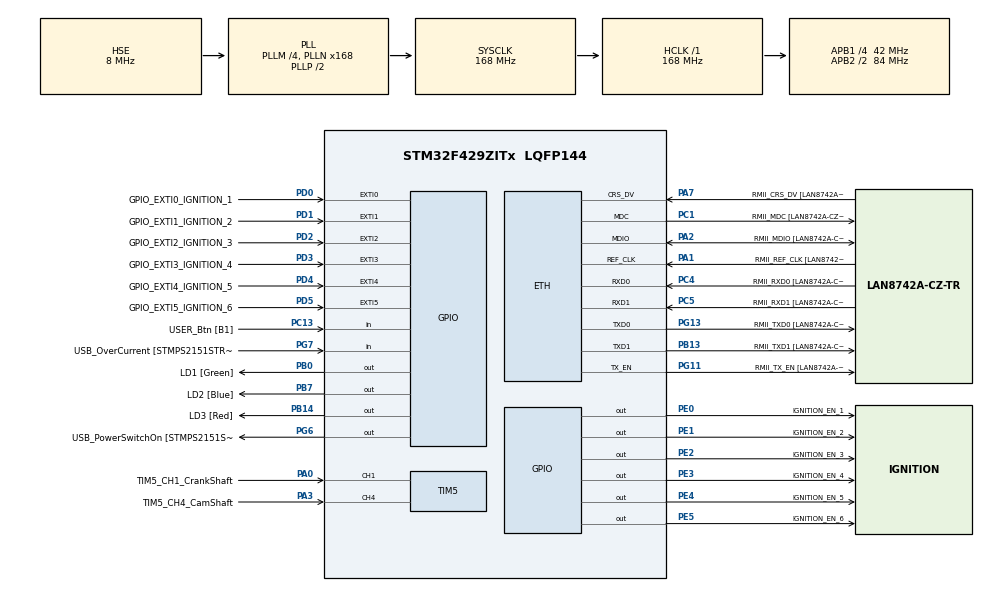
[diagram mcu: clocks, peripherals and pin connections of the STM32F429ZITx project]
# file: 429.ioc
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ETH.MediaInterface=ETH_MEDIA_INTERFACE_RMII
ETH.PHY_Name=LAN8742A_PHY_ADDRESS
ETH.PHY_Value=0
ETH.PhyAddress=0
LWIP.GATEWAY_ADDRESS=192.168.004.001
LWIP.IP_ADDRESS=192.168.004.251
LWIP.LWIP_DHCP=0
LWIP.MEMP_NUM_NETBUF=8
LWIP.MEMP_NUM_NETCONN=8
LWIP.MEMP_NUM_SYS_TIMEOUT=8
LWIP.MEMP_NUM_TCP_PCB=8
LWIP.MEM_SIZE=6000
LWIP.NETMASK_ADDRESS=255.255.255.000
LWIP.PBUF_POOL_BUFSIZE=720
LWIP.TCP_SND_BUF=1800
LWIP.Version=v2.1.2_Cube
Mcu.Family=STM32F4
Mcu.Name=STM32F429ZITx
Mcu.Package=LQFP144
NVIC.EXTI0_IRQn=true\:0\:0\:false\:false\:true\:true\:true
NVIC.EXTI1_IRQn=true\:0\:0\:false\:false\:true\:true\:true
NVIC.EXTI2_IRQn=true\:0\:0\:false\:false\:true\:true\:true
NVIC.EXTI3_IRQn=true\:0\:0\:false\:false\:true\:true\:true
NVIC.EXTI4_IRQn=true\:0\:0\:false\:false\:true\:true\:true
NVIC.EXTI9_5_IRQn=true\:0\:0\:false\:false\:true\:true\:true
NVIC.PriorityGroup=NVIC_PRIORITYGROUP_4
NVIC.TIM1_UP_TIM10_IRQn=true\:0\:0\:false\:false\:true\:false\:true
NVIC.TIM5_IRQn=true\:0\:0\:false\:false\:true\:true\:true
NVIC.TimeBase=TIM1_UP_TIM10_IRQn
NVIC.TimeBaseIP=TIM10
PA0/WKUP.GPIO_Label=TIM5_CH1_CrankShaft 
PA0/WKUP.GPIO_PuPd=GPIO_PULLDOWN
PA0/WKUP.GPIO_Speed=GPIO_SPEED_FREQ_VERY_HIGH
PA0/WKUP.Signal=S_TIM5_CH1
PA1.GPIO_Label=RMII_REF_CLK [LAN8742A-CZ-TR_REFCLK0]
PA1.Mode=RMII
PA1.Signal=ETH_REF_CLK
PA10.GPIO_Label=USB_ID
PA10.Signal=USB_OTG_FS_ID
PA11.GPIO_Label=USB_DM
PA11.Signal=USB_OTG_FS_DM
PA12.GPIO_Label=USB_DP
PA12.Signal=USB_OTG_FS_DP
PA13.GPIO_Label=TMS
PA13.Mode=Trace_Asynchronous_SW
PA13.Signal=SYS_JTMS-SWDIO
PA14.GPIO_Label=TCK
PA14.Mode=Trace_Asynchronous_SW
PA14.Signal=SYS_JTCK-SWCLK
PA2.GPIO_Label=RMII_MDIO [LAN8742A-CZ-TR_MDIO]
PA2.Mode=RMII
PA2.Signal=ETH_MDIO
PA3.GPIO_Label=TIM5_CH4_CamShaft 
PA3.GPIO_PuPd=GPIO_PULLDOWN
PA3.GPIO_Speed=GPIO_SPEED_FREQ_VERY_HIGH
PA3.Signal=S_TIM5_CH4
PA7.GPIO_Label=RMII_CRS_DV [LAN8742A-CZ-TR_CRS_DV]
PA7.Mode=RMII
PA7.Signal=ETH_CRS_DV
PA8.GPIO_Label=USB_SOF [TP1]
PA8.Signal=USB_OTG_FS_SOF
PA9.GPIO_Label=USB_VBUS
PA9.Signal=USB_OTG_FS_VBUS
PB0.GPIO_Label=LD1 [Green]
PB0.Signal=GPIO_Output
PB13.GPIO_Label=RMII_TXD1 [LAN8742A-CZ-TR_TXD1]
PB13.Mode=RMII
PB13.Signal=ETH_TXD1
PB14.GPIO_Label=LD3 [Red]
PB14.Signal=GPIO_Output
PB3.Mode=Trace_Asynchronous_SW
PB3.Signal=SYS_JTDO-SWO
PB7.GPIO_Label=LD2 [Blue]
PB7.Signal=GPIO_Output
PC1.GPIO_Label=RMII_MDC [LAN8742A-CZ-TR_MDC]
PC1.Mode=RMII
PC1.Signal=ETH_MDC
PC13.GPIO_Label=USER_Btn [B1]
PC13.Signal=GPIO_Input
PC14/OSC32_IN.Mode=LSE-External-Oscillator
PC14/OSC32_IN.Signal=RCC_OSC32_IN
PC15/OSC32_OUT.Mode=LSE-External-Oscillator
PC15/OSC32_OUT.Signal=RCC_OSC32_OUT
PC4.GPIO_Label=RMII_RXD0 [LAN8742A-CZ-TR_RXD0]
PC4.Mode=RMII
PC4.Signal=ETH_RXD0
PC5.GPIO_Label=RMII_RXD1 [LAN8742A-CZ-TR_RXD1]
PC5.Mode=RMII
PC5.Signal=ETH_RXD1
PD0.GPIO_Label=GPIO_EXTI0_IGNITION_1
PD0.GPIO_ModeDefaultEXTI=GPIO_MODE_IT_FALLING
PD0.GPIO_PuPd=GPIO_PULLUP
PD0.Signal=GPXTI0
PD1.GPIO_Label=GPIO_EXTI1_IGNITION_2
PD1.GPIO_ModeDefaultEXTI=GPIO_MODE_IT_FALLING
PD1.GPIO_PuPd=GPIO_PULLUP
PD1.Signal=GPXTI1
PD2.GPIO_Label=GPIO_EXTI2_IGNITION_3
PD2.GPIO_ModeDefaultEXTI=GPIO_MODE_IT_FALLING
PD2.GPIO_PuPd=GPIO_PULLUP
PD2.Signal=GPXTI2
PD3.GPIO_Label=GPIO_EXTI3_IGNITION_4
PD3.GPIO_ModeDefaultEXTI=GPIO_MODE_IT_FALLING
PD3.GPIO_PuPd=GPIO_PULLUP
PD3.Signal=GPXTI3
PD4.GPIO_Label=GPIO_EXTI4_IGNITION_5
PD4.GPIO_ModeDefaultEXTI=GPIO_MODE_IT_FALLING
PD4.GPIO_PuPd=GPIO_PULLUP
PD4.Signal=GPXTI4
PD5.GPIO_Label=GPIO_EXTI5_IGNITION_6
PD5.GPIO_ModeDefaultEXTI=GPIO_MODE_IT_FALLING
PD5.GPIO_PuPd=GPIO_PULLUP
PD5.Signal=GPXTI5
PE0.GPIO_Label=IGNITION_EN_1
PE0.GPIO_ModeDefaultOutputPP=GPIO_MODE_OUTPUT_OD
PE0.GPIO_PuPd=GPIO_NOPULL
PE0.GPIO_Speed=GPIO_SPEED_FREQ_HIGH
PE0.PinState=GPIO_PIN_SET
PE0.Signal=GPIO_Output
PE1.GPIO_Label=IGNITION_EN_2
PE1.GPIO_ModeDefaultOutputPP=GPIO_MODE_OUTPUT_OD
PE1.GPIO_PuPd=GPIO_NOPULL
PE1.GPIO_Speed=GPIO_SPEED_FREQ_HIGH
PE1.PinState=GPIO_PIN_SET
PE1.Signal=GPIO_Output
PE2.GPIO_Label=IGNITION_EN_3
PE2.GPIO_ModeDefaultOutputPP=GPIO_MODE_OUTPUT_OD
PE2.GPIO_PuPd=GPIO_NOPULL
PE2.GPIO_Speed=GPIO_SPEED_FREQ_HIGH
PE2.PinState=GPIO_PIN_SET
PE2.Signal=GPIO_Output
PE3.GPIO_Label=IGNITION_EN_4
PE3.GPIO_ModeDefaultOutputPP=GPIO_MODE_OUTPUT_OD
PE3.GPIO_PuPd=GPIO_NOPULL
PE3.GPIO_Speed=GPIO_SPEED_FREQ_HIGH
PE3.PinState=GPIO_PIN_SET
PE3.Signal=GPIO_Output
PE4.GPIO_Label=IGNITION_EN_5
PE4.GPIO_ModeDefaultOutputPP=GPIO_MODE_OUTPUT_OD
PE4.GPIO_PuPd=GPIO_NOPULL
PE4.GPIO_Speed=GPIO_SPEED_FREQ_HIGH
PE4.PinState=GPIO_PIN_SET
PE4.Signal=GPIO_Output
PE5.GPIO_Label=IGNITION_EN_6
PE5.GPIO_ModeDefaultOutputPP=GPIO_MODE_OUTPUT_OD
PE5.GPIO_PuPd=GPIO_NOPULL
PE5.GPIO_Speed=GPIO_SPEED_FREQ_HIGH
PE5.PinState=GPIO_PIN_SET
PE5.Signal=GPIO_Output
PG11.GPIO_Label=RMII_TX_EN [LAN8742A-CZ-TR_TXEN]
PG11.Mode=RMII
PG11.Signal=ETH_TX_EN
PG13.GPIO_Label=RMII_TXD0 [LAN8742A-CZ-TR_TXD0]
PG13.Mode=RMII
PG13.Signal=ETH_TXD0
PG6.GPIO_Label=USB_PowerSwitchOn [STMPS2151STR_EN]
PG6.Signal=GPIO_Output
PG7.GPIO_Label=USB_OverCurrent [STMPS2151STR_FAULT]
PG7.Signal=GPIO_Input
PH0/OSC_IN.GPIO_Label=MCO [STM32F103CBT6_PA8]
PH0/OSC_IN.Mode=HSE-External-Clock-Source
PH0/OSC_IN.Signal=RCC_OSC_IN
PH1/OSC_OUT.Mode=HSE-External-Clock-Source
PH1/OSC_OUT.Signal=RCC_OSC_OUT
ProjectManager.HeapSize=0x2000
ProjectManager.StackSize=0x2000
ProjectManager.TargetToolchain=MDK-ARM V5.27
RCC.48MHZClocksFreq_Value=48000000
RCC.AHBFreq_Value=168000000
RCC.APB1CLKDivider=RCC_HCLK_DIV4
RCC.APB1Freq_Value=42000000
RCC.APB1TimFreq_Value=84000000
RCC.APB2CLKDivider=RCC_HCLK_DIV2
RCC.APB2Freq_Value=84000000
RCC.APB2TimCLKDivider=2
RCC.APB2TimFreq_Value=168000000
RCC.CortexFreq_Value=168000000
RCC.HCLKFreq_Value=168000000
RCC.HSE_VALUE=8000000
RCC.HSI_VALUE=16000000
RCC.PLLM=4
RCC.PLLMUL=RCC_PLL_MUL9
RCC.PLLN=168
RCC.PLLQ=7
RCC.PLLSourceVirtual=RCC_PLLSOURCE_HSE
RCC.PRESCALERUSB=RCC_USBCLKSOURCE_PLL_DIV1_5
RCC.SYSCLKFreq_VALUE=168000000
RCC.SYSCLKSource=RCC_SYSCLKSOURCE_PLLCLK
RCC.SYSCLKSourceVirtual=RCC_SYSCLKSOURCE_PLLCLK
RCC.USBFreq_Value=48000000
RCC.VCOOutputFreq_Value=336000000
SH.S_TIM5_CH1.0=TIM5_CH1,Input_Capture1_from_TI1
SH.S_TIM5_CH4.0=TIM5_CH4,Input_Capture4_from_TI4
TIM5.Channel-Input_Capture1_from_TI1=TIM_CHANNEL_1
TIM5.Channel-Input_Capture4_from_TI4=TIM_CHANNEL_4
TIM5.ICFilter_CH1=4
TIM5.ICFilter_CH4=4
TIM5.ICPolarity_CH1=TIM_INPUTCHANNELPOLARITY_FALLING
TIM5.ICPolarity_CH4=TIM_INPUTCHANNELPOLARITY_RISING
VP_LWIP_VS_Enabled.Mode=Enabled
VP_SYS_VS_tim10.Mode=TIM10
VP_TIM5_VS_ClockSourceINT.Mode=Internal
board=NUCLEO-F429ZI

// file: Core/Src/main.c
/* USER CODE BEGIN Header */
/**
  ******************************************************************************
  * @file           : main.c
  * @brief          : Main program body
  ******************************************************************************
  * @attention
  *
  * <h2><center>&copy; Copyright (c) 2022 STMicroelectronics.
  * All rights reserved.</center></h2>
  *
  * This software component is licensed by ST under Ultimate Liberty license
  * SLA0044, the "License"; You may not use this file except in compliance with
  * the License. You may obtain a copy of the License at:
  *                             www.st.com/SLA0044
  *
  ******************************************************************************
  */
/* USER CODE END Header */
#include "main.h"
#include "lwip.h"

/* USER CODE BEGIN Includes */
#include "TimeSpan.h"
#include "Memory.h"
#include "CoreDebug.h"
#include "HTTPServer.h"
#include "ModbusCommon.h"
#include "ModbusTCPServer.h"
#include "DeviceData.h"
#include "string.h"
/* USER CODE END Includes */

TIM_HandleTypeDef htim5;

/* USER CODE BEGIN PV */
/*#if   (defined ( __CC_ARM ))
__IO CommonData commonData  __attribute__((at(0x20000000)));
#elif (defined (__ICCARM__))
#pragma location = 0x20000000
__no_init __IO CommonData commonDta;
#elif defined   (  __GNUC__  )
__IO CommonData commonDta __attribute__((section(".RAMVectorTable")));
#endif*/

//---DEBUG---//
#include <stdio.h>
#define ITM_Port8(n)    (*((volatile unsigned char *)(0xE0000000+4*n)))
#define ITM_Port16(n)   (*((volatile unsigned short*)(0xE0000000+4*n)))
#define ITM_Port32(n)   (*((volatile unsigned long *)(0xE0000000+4*n)))
#define DEMCR           (*((volatile unsigned long *)(0xE000EDFC)))
#define TRCENA          0x01000000

struct __FILE { int handle; /* Add whatever you need here */ };
FILE __stdout;
FILE __stdin;

int fputc(int ch, FILE *f) {
   if (DEMCR & TRCENA) {

while (ITM_Port32(0) == 0)
	;
    ITM_Port8(0) = ch;
  }
  return(ch);
}
//---End Debug---//

Memory* memory = (void*)FIRST_PAGE_PROPERTY_ADDR;

HTTPServer httpServer;
ModbusTCPServer modbusTCPServer;

DeviceData deviceData;
float crankshaftTimeSpans1[CRANKSHAFT_POS_NUM];
float crankshaftTimeSpans2[CRANKSHAFT_POS_NUM];

const char infoStringFirstPart[]="Engine Control Device ID_";
char infoString[sizeof(infoStringFirstPart)+24];
InfoRegisters infoRegisters={(uint8_t*)infoString,sizeof(infoString)+24};

InputRegisters inputRegisters={
  .registers = (uint16_t*)&deviceData,
  .count = sizeof(DeviceData)/2,
};

HoldingRegisters holdingRegisters={
  .registers = (uint16_t*)FIRST_PAGE_PROPERTY_ADDR,
  .count = sizeof(Memory)/2,
};

ContactRegisters contactRegisters = {
  .bytes = NULL,
  .count = 0,
};

CoilRegisters coilRegisters = {
  .bytes = &deviceData.clearCounters,
  .count = 2,
};

/*float speedRPM = 1500.0F;
float speedRPS = 1500.0F/60.0F;
float crankshaftAllMarkCount = 60.0F;
float timerClock = 84000000.0F;*/
uint32_t oneMarkRefTick = (uint32_t)(84000000.0F/((1500.0F/60.0F)*60.0F));/*время одной метки в тиках*/

uint32_t camshaftOneTurnTickRef = (uint32_t)(84000000.0F/(750.0F/60.0F));/*время одного оборота в тиках*/

uint32_t lastFireErrorCylinderTicks[6]={0,0,0,0,0,0};
uint32_t lastMisfireCylinderTicks[6]={0,0,0,0,0,0};
//---DEL---//
/*uint8_t cylinder_1_crankshaft_pos =0;
uint8_t cylinder_2_crankshaft_pos =0;
uint8_t cylinder_3_crankshaft_pos =0;
uint8_t cylinder_4_crankshaft_pos =0;
uint8_t cylinder_5_crankshaft_pos =0;
uint8_t cylinder_6_crankshaft_pos =0;*/
//----------//
/* USER CODE END PV */

void SystemClock_Config(void);
static void MX_GPIO_Init(void);
static void MX_TIM5_Init(void);

/* USER CODE BEGIN 0 */
void modbusRequestProcessedCallback(uint8_t modbusRequestType,uint16_t regAddress,uint16_t regCount)
{
	if(modbusRequestType==WRITE_COIL_REGISTER && regAddress==0)
	{
		deviceData.misfireCounter=0;

	}
	else if(modbusRequestType==WRITE_COIL_REGISTER && regAddress==1)deviceData.fireErrorCounter=0;
	else if(modbusRequestType==WRITE_COIL_REGISTERS)
	{
		if(regAddress==0)deviceData.misfireCounter=0;
		if(regAddress+regCount>1)deviceData.fireErrorCounter=0;
	}
}

void dataChangedCallback()
{
	if(deviceData.crankshaftFiringAllowed&0x01)HAL_GPIO_WritePin(IGNITION_EN_1_GPIO_Port,IGNITION_EN_1_Pin,GPIO_PIN_SET);
	else HAL_GPIO_WritePin(IGNITION_EN_1_GPIO_Port,IGNITION_EN_1_Pin,GPIO_PIN_RESET);

	if(deviceData.crankshaftFiringAllowed&0x02)HAL_GPIO_WritePin(IGNITION_EN_2_GPIO_Port,IGNITION_EN_2_Pin,GPIO_PIN_SET);
	else HAL_GPIO_WritePin(IGNITION_EN_2_GPIO_Port,IGNITION_EN_2_Pin,GPIO_PIN_RESET);

	if(deviceData.crankshaftFiringAllowed&0x04)HAL_GPIO_WritePin(IGNITION_EN_3_GPIO_Port,IGNITION_EN_3_Pin,GPIO_PIN_SET);
	else HAL_GPIO_WritePin(IGNITION_EN_3_GPIO_Port,IGNITION_EN_3_Pin,GPIO_PIN_RESET);

	if(deviceData.crankshaftFiringAllowed&0x08)HAL_GPIO_WritePin(IGNITION_EN_4_GPIO_Port,IGNITION_EN_4_Pin,GPIO_PIN_SET);
	else HAL_GPIO_WritePin(IGNITION_EN_4_GPIO_Port,IGNITION_EN_4_Pin,GPIO_PIN_RESET);

	if(deviceData.crankshaftFiringAllowed&0x10)HAL_GPIO_WritePin(IGNITION_EN_5_GPIO_Port,IGNITION_EN_5_Pin,GPIO_PIN_SET);
	else HAL_GPIO_WritePin(IGNITION_EN_5_GPIO_Port,IGNITION_EN_5_Pin,GPIO_PIN_RESET);

	if(deviceData.crankshaftFiringAllowed&0x20)HAL_GPIO_WritePin(IGNITION_EN_6_GPIO_Port,IGNITION_EN_6_Pin,GPIO_PIN_SET);
	else HAL_GPIO_WritePin(IGNITION_EN_6_GPIO_Port,IGNITION_EN_6_Pin,GPIO_PIN_RESET);
}
/* USER CODE END 0 */

int main(void)
{

  /* MCU Configuration--------------------------------------------------------*/

  /* Reset of all peripherals, Initializes the Flash interface and the Systick. */
  HAL_Init();

  /* USER CODE BEGIN Init */
  __disable_irq();
  SCB->VTOR = MAIN_APP_START_ADDR;
	__enable_irq();
  /* USER CODE END Init */

  /* Configure the system clock */
  SystemClock_Config();

  /* USER CODE BEGIN SysInit */
  uint32_t* id = (uint32_t*)UID_BASE;
  infoRegisters.len = sprintf((char*)infoRegisters.data,"%s%.8X%.8X%.8X",infoStringFirstPart,id[0],id[1],id[2]);

	#ifdef OLD_CODE
  /* USER CODE END SysInit */

  /* Initialize all configured peripherals */
  MX_GPIO_Init();
  MX_LWIP_Init();
  MX_TIM5_Init();
  /* USER CODE BEGIN 2 */
	#endif
	Memory_Init();

	MX_GPIO_Init();
  MX_LWIP_Init();
  MX_TIM5_Init();

	printf("Main App started.\r\n");

	ModbusTCPServer_Init(&modbusTCPServer);
	HTTPServer_Init(&httpServer);

	deviceData.isDataProcessAllowed=0;
	deviceData.isCylinderFiredMask=0x00;//deviceData.currentCylinderBitMaskCrankshaft=0x00;//битовая маска каленвала(в зоне какого цилиндра находится), здесь можно определить только группу цилиндров (1,6 или 2,5 или 3,4), какой именно сработал - нужно смотреть по маске распредвала
  //deviceData.currentCylinderBitMaskCAMshaft=0x00;  //битовая маска распредвала(в зоне какого цилиндра находится)
	deviceData.crankshaftFiringAllowed=0x3F;         //битовая маска каленвала разрешение на поджигание смеси в цилиндрах ( по умолчанию разрешено - запуск двигателя)
	//deviceData.camshaftFiringAllowed=0x3F;           //битовая маска распредвала разрешение на поджигание смеси в цилиндрах( по умолчанию разрешено - запуск двигателя)
	deviceData.currentCylinder=0;
	//deviceData.currentCylinderForAccelerationCalc=0;

	//Запуск таймера в режиме захвата
	//HAL_TIM_IC_Start_IT(&htim5, TIM_CHANNEL_1);
	//__HAL_TIM_ENABLE_IT(&htim5, TIM_CHANNEL_4);//Чтобы срабатывали прерывания от двух каналов
	/*HAL_TIM_IC_Start(&htim5, TIM_CHANNEL_1);
	__HAL_TIM_ENABLE_IT(&htim5, TIM_IT_CC1);
	__HAL_TIM_ENABLE_IT(&htim5, TIM_IT_CC4);*/
	HAL_TIM_IC_Start_IT(&htim5, TIM_CHANNEL_1);
	HAL_TIM_IC_Start_IT(&htim5, TIM_CHANNEL_4);

  /* USER CODE END 2 */

  /* Infinite loop */
  /* USER CODE BEGIN WHILE */
  while (1)
  {
		static uint32_t lastBlinkTime =0;
		if(GetTimeSpan(lastBlinkTime,HAL_GetTick())>500)
		{
			lastBlinkTime=HAL_GetTick();
		  HAL_GPIO_TogglePin(LD1_GPIO_Port,LD1_Pin);//GREEN
		  //HAL_GPIO_TogglePin(LD2_GPIO_Port,LD2_Pin);//BLUE
		  //HAL_GPIO_TogglePin(LD3_GPIO_Port,LD3_Pin);//RED
		}

		MX_LWIP_Process();

		static uint32_t buttonResetIPReleaseTime = 0;

		if(HAL_GPIO_ReadPin(USER_Btn_GPIO_Port,USER_Btn_Pin)==GPIO_PIN_RESET)buttonResetIPReleaseTime = HAL_GetTick();
		else if(GetTimeSpan(buttonResetIPReleaseTime,HAL_GetTick())>5000)
		{
			HAL_GPIO_WritePin(LD1_GPIO_Port,LD1_Pin,GPIO_PIN_RESET);//GREEN
		  HAL_GPIO_WritePin(LD2_GPIO_Port,LD2_Pin,GPIO_PIN_RESET);//BLUE
		  HAL_GPIO_WritePin(LD3_GPIO_Port,LD3_Pin,GPIO_PIN_RESET);//RED
			HAL_Delay(500);
			HAL_GPIO_WritePin(LD1_GPIO_Port,LD1_Pin,GPIO_PIN_SET);//GREEN
			HAL_Delay(500);
			HAL_GPIO_WritePin(LD2_GPIO_Port,LD2_Pin,GPIO_PIN_SET);//BLUE
			HAL_Delay(500);
			HAL_GPIO_WritePin(LD3_GPIO_Port,LD3_Pin,GPIO_PIN_SET);//RED
			HAL_Delay(500);
			HAL_GPIO_WritePin(LD1_GPIO_Port,LD1_Pin,GPIO_PIN_RESET);//GREEN
		  HAL_GPIO_WritePin(LD2_GPIO_Port,LD2_Pin,GPIO_PIN_RESET);//BLUE
		  HAL_GPIO_WritePin(LD3_GPIO_Port,LD3_Pin,GPIO_PIN_RESET);//RED

			NetworkParameters networkParameters ={
			  .ipAddr={192,168,1,251},
			  .netMask={255,255,255,0},
	      .gateWay={192,168,1,001},
			  .modbusPort=502,
		  };
			memoryWriteNetworkParameters(&networkParameters);

			HAL_Delay(500);

			buttonResetIPReleaseTime = HAL_GetTick();
	  }

		for(int i =0; i<6;i++)
		{
			if(deviceData.fireErrorCylinder[i] && GetTimeSpan(lastFireErrorCylinderTicks[i],HAL_GetTick())>4000)deviceData.fireErrorCylinder[i]=0x00;
			if(deviceData.misfireCylinder[i] && GetTimeSpan(lastMisfireCylinderTicks[i],HAL_GetTick())>4000)deviceData.misfireCylinder[i]=0;
		}

    /* USER CODE END WHILE */

  }
}

void SystemClock_Config(void)
{
  RCC_OscInitTypeDef RCC_OscInitStruct = {0};
  RCC_ClkInitTypeDef RCC_ClkInitStruct = {0};

  /** Configure the main internal regulator output voltage
  */
  __HAL_RCC_PWR_CLK_ENABLE();
  __HAL_PWR_VOLTAGESCALING_CONFIG(PWR_REGULATOR_VOLTAGE_SCALE1);
  /** Initializes the RCC Oscillators according to the specified parameters
  * in the RCC_OscInitTypeDef structure.
  */
  RCC_OscInitStruct.OscillatorType = RCC_OSCILLATORTYPE_LSI|RCC_OSCILLATORTYPE_HSE;
  RCC_OscInitStruct.HSEState = RCC_HSE_BYPASS;
  RCC_OscInitStruct.LSIState = RCC_LSI_ON;
  RCC_OscInitStruct.PLL.PLLState = RCC_PLL_ON;
  RCC_OscInitStruct.PLL.PLLSource = RCC_PLLSOURCE_HSE;
  RCC_OscInitStruct.PLL.PLLM = 4;
  RCC_OscInitStruct.PLL.PLLN = 168;
  RCC_OscInitStruct.PLL.PLLP = RCC_PLLP_DIV2;
  RCC_OscInitStruct.PLL.PLLQ = 7;
  if (HAL_RCC_OscConfig(&RCC_OscInitStruct) != HAL_OK)
  {
    Error_Handler();
  }
  /** Initializes the CPU, AHB and APB buses clocks
  */
  RCC_ClkInitStruct.ClockType = RCC_CLOCKTYPE_HCLK|RCC_CLOCKTYPE_SYSCLK
                              |RCC_CLOCKTYPE_PCLK1|RCC_CLOCKTYPE_PCLK2;
  RCC_ClkInitStruct.SYSCLKSource = RCC_SYSCLKSOURCE_PLLCLK;
  RCC_ClkInitStruct.AHBCLKDivider = RCC_SYSCLK_DIV1;
  RCC_ClkInitStruct.APB1CLKDivider = RCC_HCLK_DIV4;
  RCC_ClkInitStruct.APB2CLKDivider = RCC_HCLK_DIV2;

  if (HAL_RCC_ClockConfig(&RCC_ClkInitStruct, FLASH_LATENCY_5) != HAL_OK)
  {
    Error_Handler();
  }
}

static void MX_TIM5_Init(void)
{

  TIM_ClockConfigTypeDef sClockSourceConfig = {0};
  TIM_MasterConfigTypeDef sMasterConfig = {0};
  TIM_IC_InitTypeDef sConfigIC = {0};

  htim5.Instance = TIM5;
  htim5.Init.Prescaler = 0;
  htim5.Init.CounterMode = TIM_COUNTERMODE_UP;
  htim5.Init.Period = 4294967295;
  htim5.Init.ClockDivision = TIM_CLOCKDIVISION_DIV1;
  htim5.Init.AutoReloadPreload = TIM_AUTORELOAD_PRELOAD_DISABLE;
  if (HAL_TIM_Base_Init(&htim5) != HAL_OK)
  {
    Error_Handler();
  }
  sClockSourceConfig.ClockSource = TIM_CLOCKSOURCE_INTERNAL;
  if (HAL_TIM_ConfigClockSource(&htim5, &sClockSourceConfig) != HAL_OK)
  {
    Error_Handler();
  }
  if (HAL_TIM_IC_Init(&htim5) != HAL_OK)
  {
    Error_Handler();
  }
  sMasterConfig.MasterOutputTrigger = TIM_TRGO_RESET;
  sMasterConfig.MasterSlaveMode = TIM_MASTERSLAVEMODE_DISABLE;
  if (HAL_TIMEx_MasterConfigSynchronization(&htim5, &sMasterConfig) != HAL_OK)
  {
    Error_Handler();
  }
  sConfigIC.ICPolarity = TIM_INPUTCHANNELPOLARITY_FALLING;
  sConfigIC.ICSelection = TIM_ICSELECTION_DIRECTTI;
  sConfigIC.ICPrescaler = TIM_ICPSC_DIV1;
  sConfigIC.ICFilter = 4;
  if (HAL_TIM_IC_ConfigChannel(&htim5, &sConfigIC, TIM_CHANNEL_1) != HAL_OK)
  {
    Error_Handler();
  }
  sConfigIC.ICPolarity = TIM_INPUTCHANNELPOLARITY_RISING;
  if (HAL_TIM_IC_ConfigChannel(&htim5, &sConfigIC, TIM_CHANNEL_4) != HAL_OK)
  {
    Error_Handler();
  }

}

static void MX_GPIO_Init(void)
{
  GPIO_InitTypeDef GPIO_InitStruct = {0};

  /* GPIO Ports Clock Enable */
  __HAL_RCC_GPIOE_CLK_ENABLE();
  __HAL_RCC_GPIOC_CLK_ENABLE();
  __HAL_RCC_GPIOH_CLK_ENABLE();
  __HAL_RCC_GPIOA_CLK_ENABLE();
  __HAL_RCC_GPIOB_CLK_ENABLE();
  __HAL_RCC_GPIOG_CLK_ENABLE();
  __HAL_RCC_GPIOD_CLK_ENABLE();

  /*Configure GPIO pin Output Level */
  HAL_GPIO_WritePin(GPIOE, IGNITION_EN_3_Pin|IGNITION_EN_4_Pin|IGNITION_EN_5_Pin|IGNITION_EN_6_Pin
                          |IGNITION_EN_1_Pin|IGNITION_EN_2_Pin, GPIO_PIN_SET);

  /*Configure GPIO pin Output Level */
  HAL_GPIO_WritePin(GPIOB, LD1_Pin|LD3_Pin|LD2_Pin, GPIO_PIN_RESET);

  /*Configure GPIO pin Output Level */
  HAL_GPIO_WritePin(USB_PowerSwitchOn_GPIO_Port, USB_PowerSwitchOn_Pin, GPIO_PIN_RESET);

  /*Configure GPIO pins : IGNITION_EN_3_Pin IGNITION_EN_4_Pin IGNITION_EN_5_Pin IGNITION_EN_6_Pin
                           IGNITION_EN_1_Pin IGNITION_EN_2_Pin */
  GPIO_InitStruct.Pin = IGNITION_EN_3_Pin|IGNITION_EN_4_Pin|IGNITION_EN_5_Pin|IGNITION_EN_6_Pin
                          |IGNITION_EN_1_Pin|IGNITION_EN_2_Pin;
  GPIO_InitStruct.Mode = GPIO_MODE_OUTPUT_OD;
  GPIO_InitStruct.Pull = GPIO_NOPULL;
  GPIO_InitStruct.Speed = GPIO_SPEED_FREQ_HIGH;
  HAL_GPIO_Init(GPIOE, &GPIO_InitStruct);

  /*Configure GPIO pin : USER_Btn_Pin */
  GPIO_InitStruct.Pin = USER_Btn_Pin;
  GPIO_InitStruct.Mode = GPIO_MODE_INPUT;
  GPIO_InitStruct.Pull = GPIO_NOPULL;
  HAL_GPIO_Init(USER_Btn_GPIO_Port, &GPIO_InitStruct);

  /*Configure GPIO pins : LD1_Pin LD3_Pin LD2_Pin */
  GPIO_InitStruct.Pin = LD1_Pin|LD3_Pin|LD2_Pin;
  GPIO_InitStruct.Mode = GPIO_MODE_OUTPUT_PP;
  GPIO_InitStruct.Pull = GPIO_NOPULL;
  GPIO_InitStruct.Speed = GPIO_SPEED_FREQ_LOW;
  HAL_GPIO_Init(GPIOB, &GPIO_InitStruct);

  /*Configure GPIO pin : USB_PowerSwitchOn_Pin */
  GPIO_InitStruct.Pin = USB_PowerSwitchOn_Pin;
  GPIO_InitStruct.Mode = GPIO_MODE_OUTPUT_PP;
  GPIO_InitStruct.Pull = GPIO_NOPULL;
  GPIO_InitStruct.Speed = GPIO_SPEED_FREQ_LOW;
  HAL_GPIO_Init(USB_PowerSwitchOn_GPIO_Port, &GPIO_InitStruct);

  /*Configure GPIO pin : USB_OverCurrent_Pin */
  GPIO_InitStruct.Pin = USB_OverCurrent_Pin;
  GPIO_InitStruct.Mode = GPIO_MODE_INPUT;
  GPIO_InitStruct.Pull = GPIO_NOPULL;
  HAL_GPIO_Init(USB_OverCurrent_GPIO_Port, &GPIO_InitStruct);

  /*Configure GPIO pins : USB_SOF_Pin USB_ID_Pin USB_DM_Pin USB_DP_Pin */
  GPIO_InitStruct.Pin = USB_SOF_Pin|USB_ID_Pin|USB_DM_Pin|USB_DP_Pin;
  GPIO_InitStruct.Mode = GPIO_MODE_AF_PP;
  GPIO_InitStruct.Pull = GPIO_NOPULL;
  GPIO_InitStruct.Speed = GPIO_SPEED_FREQ_VERY_HIGH;
  GPIO_InitStruct.Alternate = GPIO_AF10_OTG_FS;
  HAL_GPIO_Init(GPIOA, &GPIO_InitStruct);

  /*Configure GPIO pin : USB_VBUS_Pin */
  GPIO_InitStruct.Pin = USB_VBUS_Pin;
  GPIO_InitStruct.Mode = GPIO_MODE_INPUT;
  GPIO_InitStruct.Pull = GPIO_NOPULL;
  HAL_GPIO_Init(USB_VBUS_GPIO_Port, &GPIO_InitStruct);

  /*Configure GPIO pins : GPIO_EXTI0_IGNITION_1_Pin GPIO_EXTI1_IGNITION_2_Pin GPIO_EXTI2_IGNITION_3_Pin GPIO_EXTI3_IGNITION_4_Pin
                           GPIO_EXTI4_IGNITION_5_Pin GPIO_EXTI5_IGNITION_6_Pin */
  GPIO_InitStruct.Pin = GPIO_EXTI0_IGNITION_1_Pin|GPIO_EXTI1_IGNITION_2_Pin|GPIO_EXTI2_IGNITION_3_Pin|GPIO_EXTI3_IGNITION_4_Pin
                          |GPIO_EXTI4_IGNITION_5_Pin|GPIO_EXTI5_IGNITION_6_Pin;
  GPIO_InitStruct.Mode = GPIO_MODE_IT_FALLING;
  GPIO_InitStruct.Pull = GPIO_PULLUP;
  HAL_GPIO_Init(GPIOD, &GPIO_InitStruct);

  /* EXTI interrupt init*/
  HAL_NVIC_SetPriority(EXTI0_IRQn, 0, 0);
  HAL_NVIC_EnableIRQ(EXTI0_IRQn);

  HAL_NVIC_SetPriority(EXTI1_IRQn, 0, 0);
  HAL_NVIC_EnableIRQ(EXTI1_IRQn);

  HAL_NVIC_SetPriority(EXTI2_IRQn, 0, 0);
  HAL_NVIC_EnableIRQ(EXTI2_IRQn);

  HAL_NVIC_SetPriority(EXTI3_IRQn, 0, 0);
  HAL_NVIC_EnableIRQ(EXTI3_IRQn);

  HAL_NVIC_SetPriority(EXTI4_IRQn, 0, 0);
  HAL_NVIC_EnableIRQ(EXTI4_IRQn);

  HAL_NVIC_SetPriority(EXTI9_5_IRQn, 0, 0);
  HAL_NVIC_EnableIRQ(EXTI9_5_IRQn);

}

/* USER CODE BEGIN 4 */
//Проверяем была ли ошибка раньше
void checkOtherFireErrorVars(uint8_t currentVarNumber)
{
	for(uint8_t i =0;i<6;i++)
	{
		if(i!=currentVarNumber && deviceData.fireErrorCylinder[i]!=0x00)return;
	}
	deviceData.fireErrorCylinder[currentVarNumber]|=0x80;//Это значит что ошибка началась с этого цилиндра
}

void HAL_GPIO_EXTI_Callback(uint16_t GPIO_Pin)
{
  if(GPIO_Pin== GPIO_PIN_0)//Зажигание в первом цилиндре
	{
		if(deviceData.isDataProcessAllowed && deviceData.currentCylinder!=1)//искра там где не надо
		{
			lastFireErrorCylinderTicks[0]=HAL_GetTick();
			if(deviceData.fireErrorCylinder[0]&0x80)deviceData.fireErrorCylinder[0]=0x81;
			else
			{
				deviceData.fireErrorCylinder[0]=0x01;
			  checkOtherFireErrorVars(0);//Проверяем была ли ошибка раньше, если не было - помечаем как первый цилиндр с которого началась ошибка
			}
			deviceData.fireErrorCounter++;
		}
		else
		{
			deviceData.isCylinderFiredMask|=0x01;
		}
	}
	else if(GPIO_Pin== GPIO_PIN_1)//Зажигание во втором цилиндре
	{
		if(deviceData.isDataProcessAllowed && deviceData.currentCylinder!=2)//искра там где не надо
		{
			lastFireErrorCylinderTicks[1]=HAL_GetTick();
			if(deviceData.fireErrorCylinder[1]&0x80)deviceData.fireErrorCylinder[1]=0x81;
			else
			{
				deviceData.fireErrorCylinder[1]=0x01;
			  checkOtherFireErrorVars(1);//Проверяем была ли ошибка раньше, если не было - помечаем как первый цилиндр с которого началась ошибка
			}
			deviceData.fireErrorCounter++;
		}
		else
		{
			deviceData.isCylinderFiredMask|=0x02;
		}
	}
	else if(GPIO_Pin== GPIO_PIN_2)//Зажигание в третьем цилиндре
	{
		if(deviceData.isDataProcessAllowed && deviceData.currentCylinder!=3)//искра там где не надо
		{
			lastFireErrorCylinderTicks[2]=HAL_GetTick();
			if(deviceData.fireErrorCylinder[2]&0x80)deviceData.fireErrorCylinder[2]=0x81;
			else
			{
				deviceData.fireErrorCylinder[2]=0x01;
			  checkOtherFireErrorVars(2);//Проверяем была ли ошибка раньше, если не было - помечаем как первый цилиндр с которого началась ошибка
			}
			deviceData.fireErrorCounter++;
		}
		else
		{
			deviceData.isCylinderFiredMask|=0x04;
		}
	}
	else if(GPIO_Pin== GPIO_PIN_3)//Зажигание в четвертом цилиндре
	{
		if(deviceData.isDataProcessAllowed && deviceData.currentCylinder!=4)//искра там где не надо
		{
			lastFireErrorCylinderTicks[3]=HAL_GetTick();
			if(deviceData.fireErrorCylinder[3]&0x80)deviceData.fireErrorCylinder[3]=0x81;
			else
			{
				deviceData.fireErrorCylinder[3]=0x01;
			  checkOtherFireErrorVars(3);//Проверяем была ли ошибка раньше, если не было - помечаем как первый цилиндр с которого началась ошибка
			}
			deviceData.fireErrorCounter++;
		}
		else
		{
			deviceData.isCylinderFiredMask|=0x08;
		}
	}
	else if(GPIO_Pin== GPIO_PIN_4)//Зажигание в пятом цилиндре
	{
		if(deviceData.isDataProcessAllowed && deviceData.currentCylinder!=5)//искра там где не надо
		{
			lastFireErrorCylinderTicks[4]=HAL_GetTick();
			if(deviceData.fireErrorCylinder[4]&0x80)deviceData.fireErrorCylinder[4]=0x81;
			else
			{
				deviceData.fireErrorCylinder[4]=0x01;
			  checkOtherFireErrorVars(4);//Проверяем была ли ошибка раньше, если не было - помечаем как первый цилиндр с которого началась ошибка
			}
			deviceData.fireErrorCounter++;
		}
		else
		{
			deviceData.isCylinderFiredMask|=0x10;
		}
	}
	else if(GPIO_Pin== GPIO_PIN_5)//Зажигание в шестом цилиндре
	{
		if(deviceData.isDataProcessAllowed && deviceData.currentCylinder!=6)//искра там где не надо
		{
			lastFireErrorCylinderTicks[5]=HAL_GetTick();
			if(deviceData.fireErrorCylinder[5]&0x80)deviceData.fireErrorCylinder[5]=0x81;
			else
			{
				deviceData.fireErrorCylinder[5]=0x01;
			  checkOtherFireErrorVars(5);//Проверяем была ли ошибка раньше, если не было - помечаем как первый цилиндр с которого началась ошибка
			}
			deviceData.fireErrorCounter++;
		}
		else
		{
			deviceData.isCylinderFiredMask|=0x20;
		}
	}
}

void HAL_TIM_IC_CaptureCallback(TIM_HandleTypeDef *htim)
{
  if(htim->Instance == htim5.Instance)
	{
		if(htim->Channel == HAL_TIM_ACTIVE_CHANNEL_1)
		{
			//Сработалл захват каленвала
			deviceData.crankshaftTicks[deviceData.crankshaftCurPos] = HAL_TIM_ReadCapturedValue(htim, TIM_CHANNEL_1);
			uint32_t lastTick = deviceData.crankshaftCurPos==0?deviceData.crankshaftTicks[CRANKSHAFT_POS_NUM/**2*/-1]:deviceData.crankshaftTicks[deviceData.crankshaftCurPos-1];
			deviceData.crankshaftTickSpans[deviceData.crankshaftCurPos]=GetTimeSpan(lastTick,deviceData.crankshaftTicks[deviceData.crankshaftCurPos]);
			deviceData.crankshaftTimeSpans[deviceData.crankshaftCurPos]=deviceData.crankshaftTickSpans[deviceData.crankshaftCurPos]*1000.0F/84000000.0F;//В милисекундах

			static uint32_t oneMarkTick = 0;
			static uint32_t markTicksSum=0;
			static uint32_t currentPos = 0;
			oneMarkTick = 0;
			markTicksSum = 0;
			currentPos = deviceData.crankshaftCurPos;

			for(int i =0;i < CRANKSHAFT_POS_NUM; i++)
			{
				markTicksSum+=deviceData.crankshaftTickSpans[currentPos];
				if(currentPos==0)currentPos=CRANKSHAFT_POS_NUM-1;
				else currentPos--;
			}

			oneMarkTick = markTicksSum/CRANKSHAFT_ALL_POS_NUM;

			//если отклонение не больше чем на 15 % - можно вычислять
			if(oneMarkTick>oneMarkRefTick*0.85F && oneMarkTick<oneMarkRefTick*1.15F)
			{
				// �?щем метку
				int i =0;
				for(;i<CRANKSHAFT_POS_NUM;i++)
				{
					if(oneMarkTick*1.6F<deviceData.crankshaftTickSpans[i] && oneMarkTick*2.4F>deviceData.crankshaftTickSpans[i])
					{
						//Метка найдена
						if(i>0)//Если метка не на первом месте в массиве - для дальнейшего удобства копируем массив временных промежутков так чтобы была на первом (экономит время поиска)
						{
							currentPos = i;
							uint32_t tmpArr[CRANKSHAFT_POS_NUM];
							memcpy(tmpArr,deviceData.crankshaftTickSpans,CRANKSHAFT_POS_NUM);
							for(int j =0;j < CRANKSHAFT_POS_NUM; j++)
			        {
								deviceData.crankshaftTickSpans[j]=tmpArr[currentPos++];
				        if(currentPos==CRANKSHAFT_POS_NUM)currentPos=0;
			        }

							if(i>deviceData.crankshaftCurPos)deviceData.crankshaftCurPos = deviceData.crankshaftCurPos + CRANKSHAFT_POS_NUM - i;
				      else deviceData.crankshaftCurPos-=i;//чтобы следующий элемент копировался куда положено
							//теперь каждый элемент на своем месте, первый элемент - временной промежуток между предпоследней меткой (последняя отсутствует) и первой меткой
						}

						break;
					}
				}
        if(i ==	CRANKSHAFT_POS_NUM)//Не найдено начальная метка коленвала ( вообще такого не должно быть, но ХЗ)
				{
          if(++deviceData.crankshaftCurPos==CRANKSHAFT_POS_NUM/**2*/)deviceData.crankshaftCurPos=0;
					deviceData.crankshaftFiringAllowed=0x3F;         //битовая маска каленвала разрешение на поджигание смеси в цилиндрах ( по умолчанию разрешено - запуск двигателя)
	        //deviceData.camshaftFiringAllowed=0x3F;           //битовая маска распредвала разрешение на поджигание смеси в цилиндрах( по умолчанию разрешено - запуск двигателя)

					dataChangedCallback();//Включаем зажигание
					return;
				}

				if(!deviceData.isDataProcessAllowed)//Скорость вращения распредвала больше или меньше чем скорость, соответствующая 1500 оборотов в минуту, зажигание разрешаем, продолжаем работать
				{
					if(++deviceData.crankshaftCurPos==CRANKSHAFT_POS_NUM/**2*/)deviceData.crankshaftCurPos=0;
					deviceData.crankshaftFiringAllowed=0x3F;         //битовая маска каленвала разрешение на поджигание смеси в цилиндрах ( по умолчанию разрешено - запуск двигателя)

					dataChangedCallback();//Включаем зажигание
					return;
				}

        //Производим необходимые вычисления

				//запрещаем зажигание
				deviceData.crankshaftFiringAllowed=0x00;

				if(deviceData.crankshaftCurPos==50/*45*/)//(deviceData.crankshaftCurPos>44 || (deviceData.crankshaftCurPos>=0 && deviceData.crankshaftCurPos<5))
				{
					//проверяем происходило ли зажигание в 3 и 4 цилиндрах
					if(deviceData.currentCylinder==3)//прошлый цилиндр - 3
					{
						//сбрасываем флаги зажигание произошло в 6 цилиндре
					  deviceData.isCylinderFiredMask&=~0x20;

						if(!(deviceData.isCylinderFiredMask&0x04))//поджигание смеси в третьем цилиндре не происходило, авария
						{//еще проверить отрицательное ускорени результат - операция или
							deviceData.misfireCylinder[2] =0x01;
							lastMisfireCylinderTicks[2]=HAL_GetTick();
							deviceData.misfireCounter++;
						}
						//else deviceData.misfireCylinder[2] =0x00;
					}
					else if(deviceData.currentCylinder==4)//прошлый цилиндр - 4
					{
						//сбрасываем флаги зажигание произошло в 1 цилиндре
					  deviceData.isCylinderFiredMask&=~0x01;

						if(!(deviceData.isCylinderFiredMask&0x08))//поджигание смеси в четвертом цилиндре не происходило, авария
						{
							deviceData.misfireCylinder[3] =0x01;
							lastMisfireCylinderTicks[3]=HAL_GetTick();
							deviceData.misfireCounter++;
						}
						//else deviceData.misfireCylinder[3] =0x00;
					}

					//deviceData.currentCylinderForAccelerationCalc=deviceData.currentCylinder;
				}
        else if(deviceData.crankshaftCurPos==5)//(deviceData.crankshaftCurPos>4 && deviceData.crankshaftCurPos<10)
				{
					//разрешаем зажигание в 1 или 6 цилиндрах
					if(deviceData.currentCylinder==1)
					{
						deviceData.crankshaftFiringAllowed=0x01;
						//Предыдущтий цилиндр был четвертый
					  uint32_t sumTicks =0;
					  for(int i = 50;i<59;i++)
					  {
						  sumTicks+=deviceData.crankshaftTickSpans[i];
					  }
					  for(int i = 0;i<5;i++)
					  {
						  sumTicks+=deviceData.crankshaftTickSpans[i];
					  }
					  deviceData.cylinder_4_Time=sumTicks*1000.0F/84000000.0F;
					}
					else if(deviceData.currentCylinder==6)
					{
						deviceData.crankshaftFiringAllowed=0x20;
						//Предыдущтий цилиндр был третий
					  uint32_t sumTicks =0;
					  for(int i = 50;i<59;i++)
					  {
						  sumTicks+=deviceData.crankshaftTickSpans[i];
					  }
					  for(int i = 0;i<5;i++)
					  {
						  sumTicks+=deviceData.crankshaftTickSpans[i];
					  }
					  deviceData.cylinder_3_Time=sumTicks*1000.0F/84000000.0F;
					}
				}
        else if(deviceData.crankshaftCurPos==10)//(deviceData.crankshaftCurPos>9  && deviceData.crankshaftCurPos<25)
				{
					//проверяем происходило ли зажигание в 1 и 6 цилиндрах
					if(deviceData.currentCylinder==1)//прошлый цилиндр - 1
					{
						//сбрасываем флаги зажигание произошло в 5 цилиндре
					  deviceData.isCylinderFiredMask&=~0x10;

						if(!(deviceData.isCylinderFiredMask&0x01))//поджигание смеси в первом цилиндре не происходило, авария
						{//еще проверить отрицательное ускорени результат - операция или
							deviceData.misfireCylinder[0] =0x01;
							lastMisfireCylinderTicks[0]=HAL_GetTick();
							deviceData.misfireCounter++;
						}
						//else deviceData.misfireCylinder[0] =0x00;
					}
					else if(deviceData.currentCylinder==6)//прошлый цилиндр - 6
					{
						//сбрасываем флаги зажигание произошло в 2 цилиндре
					  deviceData.isCylinderFiredMask&=~0x02;

						if(!(deviceData.isCylinderFiredMask&0x20))//поджигание смеси в шестом цилиндре не происходило, авария
						{
							deviceData.misfireCylinder[5] =0x01;
							lastMisfireCylinderTicks[5]=HAL_GetTick();
							deviceData.misfireCounter++;
						}
						//else deviceData.misfireCylinder[5] =0x00;
					}

					//deviceData.currentCylinderForAccelerationCalc=deviceData.currentCylinder;
				}
        else if(deviceData.crankshaftCurPos==25)//(deviceData.crankshaftCurPos>24 && deviceData.crankshaftCurPos<30)
				{
					//разрешаем зажигание в 2 или 5 цилиндрах
					if(deviceData.currentCylinder==2)
					{
						deviceData.crankshaftFiringAllowed=0x02;
						//Предыдущтий цилиндр был шестой
					  uint32_t sumTicks =0;
					  for(int i = 10;i<25;i++)
					  {
						  sumTicks+=deviceData.crankshaftTickSpans[i];
					  }
					  deviceData.cylinder_6_Time=sumTicks*1000.0F/84000000.0F;
					}
					else if(deviceData.currentCylinder==5)
					{
						deviceData.crankshaftFiringAllowed=0x10;
						//Предыдущтий цилиндр был первый
					  uint32_t sumTicks =0;
					  for(int i = 10;i<25;i++)
					  {
						  sumTicks+=deviceData.crankshaftTickSpans[i];
					  }
					  deviceData.cylinder_1_Time=sumTicks*1000.0F/84000000.0F;
				  }
				}
        else if(deviceData.crankshaftCurPos==30)//(deviceData.crankshaftCurPos>29  && deviceData.crankshaftCurPos<45)//зажигание в 3 и 4 цилиндрах еще не разрешено
				{
					//проверяем происходило ли зажигание в 2 и 5 цилиндрах
					if(deviceData.currentCylinder==2)//прошлый цилиндр - 2
					{
						//сбрасываем флаги зажигание произошло в 4 цилиндрах
					  deviceData.isCylinderFiredMask&=~0x08;

						if(!(deviceData.isCylinderFiredMask&0x02))//поджигание смеси во втором цилиндре не происходило, авария
						{//еще проверить отрицательное ускорени результат - операция или
							deviceData.misfireCylinder[1] =0x01;
							lastMisfireCylinderTicks[1]=HAL_GetTick();
							deviceData.misfireCounter++;
						}
						//else deviceData.misfireCylinder[1] =0x00;
					}
					else if(deviceData.currentCylinder==5)//прошлый цилиндр - 5
					{
						//сбрасываем флаги зажигание произошло в 3 цилиндрах
					  deviceData.isCylinderFiredMask&=~0x04;

						if(!(deviceData.isCylinderFiredMask&0x10))//поджигание смеси в пятом цилиндре не происходило, авария
						{
							deviceData.misfireCylinder[4] =0x01;
							lastMisfireCylinderTicks[4]=HAL_GetTick();
							deviceData.misfireCounter++;
						}
						//else deviceData.misfireCylinder[4] =0x00;
					}

					//deviceData.currentCylinderForAccelerationCalc=deviceData.currentCylinder;
				}
        else if(deviceData.crankshaftCurPos==45)//(deviceData.crankshaftCurPos>44 && deviceData.crankshaftCurPos<60)//разрешеено зажигание в 2 и 5 цилиндрах
				{
					//разрешаем зажигание в 3 или 4 цилиндрах
					if(deviceData.currentCylinder==3)
					{
						deviceData.crankshaftFiringAllowed=0x04;
						//Предыдущтий цилиндр был пятый
					  uint32_t sumTicks =0;
					  for(int i = 30;i<45;i++)
					  {
						  sumTicks+=deviceData.crankshaftTickSpans[i];
					  }
					  deviceData.cylinder_5_Time=sumTicks*1000.0F/84000000.0F;
					}
					else if(deviceData.currentCylinder==4)
					{
						deviceData.crankshaftFiringAllowed=0x08;
						//Предыдущтий цилиндр был второй
					  uint32_t sumTicks =0;
					  for(int i = 30;i<45;i++)
					  {
						  sumTicks+=deviceData.crankshaftTickSpans[i];
					  }
					  deviceData.cylinder_2_Time=sumTicks*1000.0F/84000000.0F;
					}
				}
				else if(deviceData.crankshaftCurPos==CRANKSHAFT_POS_NUM-1)
				{
					if(deviceData.currentCylinder==3)memcpy(crankshaftTimeSpans1,deviceData.crankshaftTimeSpans,CRANKSHAFT_POS_NUM*4);
					else if(deviceData.currentCylinder==4)memcpy(crankshaftTimeSpans2,deviceData.crankshaftTimeSpans,CRANKSHAFT_POS_NUM*4);
				}
			}
			else//Разрешаем поджигать смесь - возможно происходит перезапуск двигателя
			{
				deviceData.crankshaftFiringAllowed=0x3F;         //битовая маска каленвала разрешение на поджигание смеси в цилиндрах ( по умолчанию разрешено - запуск двигателя)
			}

			if(++deviceData.crankshaftCurPos==CRANKSHAFT_POS_NUM/**2*/)deviceData.crankshaftCurPos=0;

			dataChangedCallback();//Данные обновились - можно принимать решение об управлении
		}
		else if(htim->Channel == HAL_TIM_ACTIVE_CHANNEL_4)
		{
			//Спработал захват распредвала
			deviceData.camshaftTicks[deviceData.camshaftCurPos] = HAL_TIM_ReadCapturedValue(htim, TIM_CHANNEL_4);
			uint32_t lastTick = deviceData.camshaftCurPos==0?deviceData.camshaftTicks[CAMSHAFT_POS_NUM+1-1]:deviceData.camshaftTicks[deviceData.camshaftCurPos-1];
			deviceData.camshaftTickSpans[deviceData.camshaftCurPos]=GetTimeSpan(lastTick,deviceData.camshaftTicks[deviceData.camshaftCurPos]);
			deviceData.camshaftTimeSpans[deviceData.camshaftCurPos]=deviceData.camshaftTickSpans[deviceData.camshaftCurPos]*1000.0F/84000000.0F;//В милисекундах

			static uint32_t oneTurnTick = 0;
			static uint32_t currentPos = 0;
			oneTurnTick = 0;
			currentPos = deviceData.camshaftCurPos;

			for(int i =0;i < CAMSHAFT_POS_NUM+1; i++)
			{
				oneTurnTick+=deviceData.camshaftTickSpans[currentPos];
				if(currentPos==0)currentPos=CAMSHAFT_POS_NUM+1-1;
				else currentPos--;
			}

			//если отклонение не больше чем на 15 % - можно вычислять
			if(oneTurnTick>camshaftOneTurnTickRef*0.85F && oneTurnTick<camshaftOneTurnTickRef*1.15F)
			{
				deviceData.isDataProcessAllowed=1;
				// �?щем метку
				int i =0;
				for(;i<CAMSHAFT_POS_NUM+1;i++)
				{
					//Важно учесть что первый элемент массива распредвала - это как раз расстояние между первым и вторым зубом, а каленвала между предпоследним (последний выкинут) и первым
					if(deviceData.camshaftTickSpans[i]>(oneTurnTick*(20.0F/360.0F))*0.95F && deviceData.camshaftTickSpans[i]<(oneTurnTick*(20.0F/360.0F))*1.05F)//Метка - начало оборота, 1 цилиндр
					{
						//Метка найдена
						if(i>0)//Если метка не на первом месте в массиве - для дальнейшего удобства копируем массив временных промежутков так чтобы была на первом (экономит время поиска)
						{
							currentPos = i;
							uint32_t tmpArr[CAMSHAFT_POS_NUM+1];
							memcpy(tmpArr,deviceData.camshaftTickSpans,CAMSHAFT_POS_NUM+1);
							for(int j =0;j < CAMSHAFT_POS_NUM+1; j++)
			        {
								deviceData.camshaftTickSpans[j]=tmpArr[currentPos++];
				        if(currentPos==CAMSHAFT_POS_NUM+1)currentPos=0;
			        }

							if(i>deviceData.camshaftCurPos)deviceData.camshaftCurPos = deviceData.camshaftCurPos + CAMSHAFT_POS_NUM+1 - i;
				      else deviceData.camshaftCurPos-=i;//чтобы следующий элемент копировался куда положено

							//теперь каждый элемент на своем месте, первый элемент - временной промежуток между предпоследней меткой (последняя отсутствует) и первой меткой
						}

						break;
					}
				}
        if(i ==	CAMSHAFT_POS_NUM+1)//Не найдено начальная метка распредвала ( вообще такого не должно быть, но ХЗ)
				{
          if(++deviceData.camshaftCurPos==CAMSHAFT_POS_NUM+1)deviceData.camshaftCurPos=0;
					deviceData.isDataProcessAllowed=0;

					deviceData.crankshaftFiringAllowed=0x3F;         //битовая маска каленвала разрешение на поджигание смеси в цилиндрах ( по умолчанию разрешено - запуск двигателя)
					dataChangedCallback();//Включаем зажигание
					return;
				}
				if(deviceData.camshaftCurPos==1)
				{
					deviceData.currentCylinder = 5;//Номер цилиндра в котором в данный момент происходит поджигание смеси
					//cylinder_5_crankshaft_pos = deviceData.crankshaftCurPos;
				}
        else if(deviceData.camshaftCurPos==2)
				{
					deviceData.currentCylinder = 3;
					//cylinder_3_crankshaft_pos = deviceData.crankshaftCurPos;
				}
        else if(deviceData.camshaftCurPos==3)
				{
					deviceData.currentCylinder = 6;
					//cylinder_6_crankshaft_pos = deviceData.crankshaftCurPos;
				}
        else if(deviceData.camshaftCurPos==4)
				{
					deviceData.currentCylinder = 2;
					//cylinder_2_crankshaft_pos = deviceData.crankshaftCurPos;
				}
        else if(deviceData.camshaftCurPos==5)
				{
					deviceData.currentCylinder = 4;
					//cylinder_4_crankshaft_pos = deviceData.crankshaftCurPos;
				}
        else if(deviceData.camshaftCurPos==6)
				{
					deviceData.currentCylinder = 1;
					//cylinder_1_crankshaft_pos = deviceData.crankshaftCurPos;
				}
			}
			else deviceData.isDataProcessAllowed=0;

			if(++deviceData.camshaftCurPos==CAMSHAFT_POS_NUM+1)deviceData.camshaftCurPos=0;

			//dataChangedCallback();//Данные обновились - можно принимать решение об управлении
		}
	}
}
/* USER CODE END 4 */

 /**
  * @brief  Period elapsed callback in non blocking mode
  * @note   This function is called  when TIM10 interrupt took place, inside
  * HAL_TIM_IRQHandler(). It makes a direct call to HAL_IncTick() to increment
  * a global variable "uwTick" used as application time base.
  * @param  htim : TIM handle
  * @retval None
  */
void HAL_TIM_PeriodElapsedCallback(TIM_HandleTypeDef *htim)
{
  if (htim->Instance == TIM10) {
    HAL_IncTick();
  }
  /* USER CODE BEGIN Callback 1 */
  if(htim->Instance==htim5.Instance)
	{
		__NOP();
    //Период таймера около 58 секунд//irTransmitter.transmitCmpltCallback(&irTransmitter);
	}
  /* USER CODE END Callback 1 */
}

void Error_Handler(void)
{
  __disable_irq();
  while (1)
  {
  }
}

/************************ (C) COPYRIGHT STMicroelectronics *****END OF FILE****/
